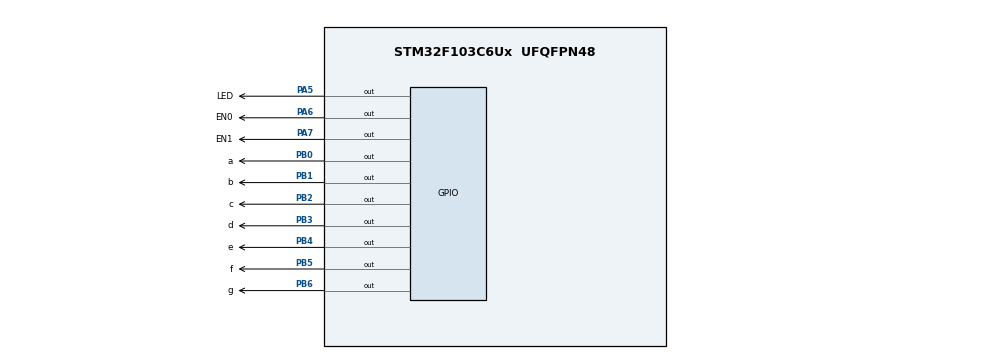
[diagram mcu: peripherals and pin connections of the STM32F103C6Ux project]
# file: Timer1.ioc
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Mcu.Family=STM32F1
Mcu.Name=STM32F103C6Ux
Mcu.Package=UFQFPN48
NVIC.PriorityGroup=NVIC_PRIORITYGROUP_4
NVIC.TIM2_IRQn=true\:0\:0\:false\:false\:true\:true\:true
PA5.GPIO_Label=LED
PA5.Signal=GPIO_Output
PA6.GPIO_Label=EN0
PA6.Signal=GPIO_Output
PA7.GPIO_Label=EN1
PA7.Signal=GPIO_Output
PB0.GPIO_Label=a
PB0.Signal=GPIO_Output
PB1.GPIO_Label=b
PB1.Signal=GPIO_Output
PB2.GPIO_Label=c
PB2.Signal=GPIO_Output
PB3.GPIO_Label=d
PB3.Signal=GPIO_Output
PB4.GPIO_Label=e
PB4.Signal=GPIO_Output
PB5.GPIO_Label=f
PB5.Signal=GPIO_Output
PB6.GPIO_Label=g
PB6.Signal=GPIO_Output
ProjectManager.HeapSize=0x200
ProjectManager.StackSize=0x400
ProjectManager.TargetToolchain=STM32CubeIDE
RCC.APB1Freq_Value=8000000
RCC.APB2Freq_Value=8000000
TIM2.Period=10
TIM2.Prescaler=7999
VP_SYS_VS_ND.Mode=No_Debug
VP_TIM2_VS_ClockSourceINT.Mode=Internal
board=custom

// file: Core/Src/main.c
/* USER CODE BEGIN Header */
/**
  ******************************************************************************
  * @file           : main.c
  * @brief          : Main program body
  ******************************************************************************
  * @attention
  *
  * <h2><center>&copy; Copyright (c) 2022 STMicroelectronics.
  * All rights reserved.</center></h2>
  *
  * This software component is licensed by ST under BSD 3-Clause license,
  * the "License"; You may not use this file except in compliance with the
  * License. You may obtain a copy of the License at:
  *                        opensource.org/licenses/BSD-3-Clause
  *
  ******************************************************************************
  */
/* USER CODE END Header */
#include "main.h"

/* USER CODE BEGIN Includes */
#include "software_timer.h"

/* USER CODE END Includes */

TIM_HandleTypeDef htim2;

void SystemClock_Config(void);
static void MX_GPIO_Init(void);
static void MX_TIM2_Init(void);

/* USER CODE BEGIN 0 */

void HAL_TIM_PeriodElapsedCallback(TIM_HandleTypeDef *htim){
	timerRun();
}

void display7SEG(int num){
 	  HAL_GPIO_WritePin ( a_GPIO_Port , a_Pin , GPIO_PIN_RESET ) ;
 	  HAL_GPIO_WritePin ( b_GPIO_Port , b_Pin , GPIO_PIN_RESET ) ;
 	  HAL_GPIO_WritePin ( c_GPIO_Port , c_Pin , GPIO_PIN_RESET ) ;
 	  HAL_GPIO_WritePin ( d_GPIO_Port , d_Pin , GPIO_PIN_RESET ) ;
 	  HAL_GPIO_WritePin ( e_GPIO_Port , e_Pin , GPIO_PIN_RESET ) ;
 	  HAL_GPIO_WritePin ( f_GPIO_Port , f_Pin , GPIO_PIN_RESET ) ;
 	  HAL_GPIO_WritePin ( g_GPIO_Port , g_Pin , GPIO_PIN_RESET ) ;
 	  if(num == 1 || num == 4)  HAL_GPIO_WritePin ( a_GPIO_Port , a_Pin , GPIO_PIN_SET ) ;
 	  if(num == 5 || num == 6)  HAL_GPIO_WritePin ( b_GPIO_Port , b_Pin , GPIO_PIN_SET ) ;
 	  if(num == 2)  HAL_GPIO_WritePin ( c_GPIO_Port , c_Pin , GPIO_PIN_SET ) ;
 	  if(num == 1 || num == 4 || num == 7)  HAL_GPIO_WritePin ( d_GPIO_Port , d_Pin , GPIO_PIN_SET ) ;
 	  if(num != 0 && num != 2 && num != 6 && num != 8)  HAL_GPIO_WritePin ( e_GPIO_Port , e_Pin , GPIO_PIN_SET ) ;
 	  if(num == 1 || num == 2 || num == 3 || num == 7)  HAL_GPIO_WritePin ( f_GPIO_Port , f_Pin , GPIO_PIN_SET ) ;
 	  if(num == 0 || num == 1 || num == 7)  HAL_GPIO_WritePin ( g_GPIO_Port , g_Pin , GPIO_PIN_SET ) ;
   }
/* USER CODE END 0 */

int main(void)
{

  /* MCU Configuration--------------------------------------------------------*/

  /* Reset of all peripherals, Initializes the Flash interface and the Systick. */
  HAL_Init();

  /* Configure the system clock */
  SystemClock_Config();

  /* Initialize all configured peripherals */
  MX_GPIO_Init();
  MX_TIM2_Init();
  /* USER CODE BEGIN 2 */
  HAL_TIM_Base_Start_IT (& htim2 ) ;
  /* USER CODE END 2 */

  /* Infinite loop */
  /* USER CODE BEGIN WHILE */
  int num = 1;
  setTimer(100);
  while (1)
  {
    /* USER CODE END WHILE */

    /* USER CODE BEGIN 3 */
	  if(timer1_flag == 1){
	  	  switch(num){
	  	  case 1:
	  		  HAL_GPIO_TogglePin(LED_GPIO_Port, LED_Pin);
	  		  HAL_GPIO_WritePin(EN0_GPIO_Port, EN0_Pin, GPIO_PIN_RESET );
	  		  HAL_GPIO_WritePin(EN1_GPIO_Port, EN1_Pin, GPIO_PIN_SET );
	  		  display7SEG(num);
	  		  num = 2;
	 		  break;
	  	  case 2:
	  		  HAL_GPIO_TogglePin(LED_GPIO_Port, LED_Pin);
	  		  HAL_GPIO_WritePin(EN0_GPIO_Port, EN0_Pin, GPIO_PIN_SET );
	  		  HAL_GPIO_WritePin(EN1_GPIO_Port, EN1_Pin, GPIO_PIN_RESET );
	  		  display7SEG(num);
	  		  num = 1;
	  		  break;
	  	  default:
	  		  break;
	      }
	  	  setTimer(50);
	  }
  }
  /* USER CODE END 3 */
}

void SystemClock_Config(void)
{
  RCC_OscInitTypeDef RCC_OscInitStruct = {0};
  RCC_ClkInitTypeDef RCC_ClkInitStruct = {0};

  /** Initializes the RCC Oscillators according to the specified parameters
  * in the RCC_OscInitTypeDef structure.
  */
  RCC_OscInitStruct.OscillatorType = RCC_OSCILLATORTYPE_HSI;
  RCC_OscInitStruct.HSIState = RCC_HSI_ON;
  RCC_OscInitStruct.HSICalibrationValue = RCC_HSICALIBRATION_DEFAULT;
  RCC_OscInitStruct.PLL.PLLState = RCC_PLL_NONE;
  if (HAL_RCC_OscConfig(&RCC_OscInitStruct) != HAL_OK)
  {
    Error_Handler();
  }
  /** Initializes the CPU, AHB and APB buses clocks
  */
  RCC_ClkInitStruct.ClockType = RCC_CLOCKTYPE_HCLK|RCC_CLOCKTYPE_SYSCLK
                              |RCC_CLOCKTYPE_PCLK1|RCC_CLOCKTYPE_PCLK2;
  RCC_ClkInitStruct.SYSCLKSource = RCC_SYSCLKSOURCE_HSI;
  RCC_ClkInitStruct.AHBCLKDivider = RCC_SYSCLK_DIV1;
  RCC_ClkInitStruct.APB1CLKDivider = RCC_HCLK_DIV1;
  RCC_ClkInitStruct.APB2CLKDivider = RCC_HCLK_DIV1;

  if (HAL_RCC_ClockConfig(&RCC_ClkInitStruct, FLASH_LATENCY_0) != HAL_OK)
  {
    Error_Handler();
  }
}

static void MX_TIM2_Init(void)
{

  TIM_ClockConfigTypeDef sClockSourceConfig = {0};
  TIM_MasterConfigTypeDef sMasterConfig = {0};

  htim2.Instance = TIM2;
  htim2.Init.Prescaler = 7999;
  htim2.Init.CounterMode = TIM_COUNTERMODE_UP;
  htim2.Init.Period = 10;
  htim2.Init.ClockDivision = TIM_CLOCKDIVISION_DIV1;
  htim2.Init.AutoReloadPreload = TIM_AUTORELOAD_PRELOAD_DISABLE;
  if (HAL_TIM_Base_Init(&htim2) != HAL_OK)
  {
    Error_Handler();
  }
  sClockSourceConfig.ClockSource = TIM_CLOCKSOURCE_INTERNAL;
  if (HAL_TIM_ConfigClockSource(&htim2, &sClockSourceConfig) != HAL_OK)
  {
    Error_Handler();
  }
  sMasterConfig.MasterOutputTrigger = TIM_TRGO_RESET;
  sMasterConfig.MasterSlaveMode = TIM_MASTERSLAVEMODE_DISABLE;
  if (HAL_TIMEx_MasterConfigSynchronization(&htim2, &sMasterConfig) != HAL_OK)
  {
    Error_Handler();
  }

}

static void MX_GPIO_Init(void)
{
  GPIO_InitTypeDef GPIO_InitStruct = {0};

  /* GPIO Ports Clock Enable */
  __HAL_RCC_GPIOA_CLK_ENABLE();
  __HAL_RCC_GPIOB_CLK_ENABLE();

  /*Configure GPIO pin Output Level */
  HAL_GPIO_WritePin(GPIOA, LED_Pin|EN0_Pin|EN1_Pin, GPIO_PIN_RESET);

  /*Configure GPIO pin Output Level */
  HAL_GPIO_WritePin(GPIOB, a_Pin|b_Pin|c_Pin|d_Pin
                          |e_Pin|f_Pin|g_Pin, GPIO_PIN_RESET);

  /*Configure GPIO pins : LED_Pin EN0_Pin EN1_Pin */
  GPIO_InitStruct.Pin = LED_Pin|EN0_Pin|EN1_Pin;
  GPIO_InitStruct.Mode = GPIO_MODE_OUTPUT_PP;
  GPIO_InitStruct.Pull = GPIO_NOPULL;
  GPIO_InitStruct.Speed = GPIO_SPEED_FREQ_LOW;
  HAL_GPIO_Init(GPIOA, &GPIO_InitStruct);

  /*Configure GPIO pins : a_Pin b_Pin c_Pin d_Pin
                           e_Pin f_Pin g_Pin */
  GPIO_InitStruct.Pin = a_Pin|b_Pin|c_Pin|d_Pin
                          |e_Pin|f_Pin|g_Pin;
  GPIO_InitStruct.Mode = GPIO_MODE_OUTPUT_PP;
  GPIO_InitStruct.Pull = GPIO_NOPULL;
  GPIO_InitStruct.Speed = GPIO_SPEED_FREQ_LOW;
  HAL_GPIO_Init(GPIOB, &GPIO_InitStruct);

}

void Error_Handler(void)
{
  __disable_irq();
  while (1)
  {
  }
}

/************************ (C) COPYRIGHT STMicroelectronics *****END OF FILE****/
